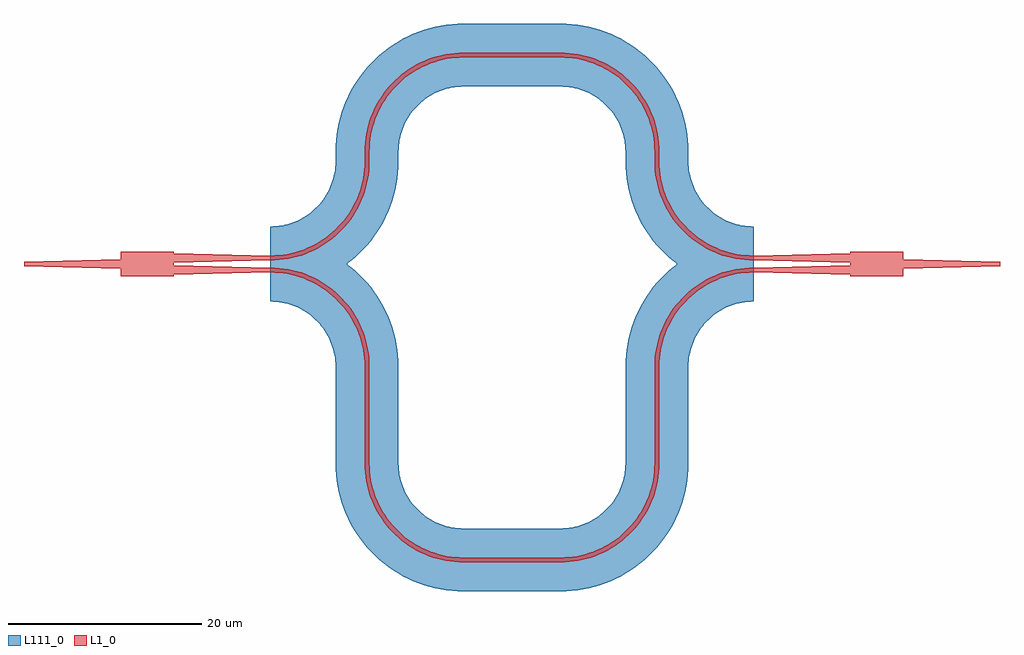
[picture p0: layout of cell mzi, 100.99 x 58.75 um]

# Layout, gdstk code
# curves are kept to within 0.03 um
import gdstk
lib = gdstk.Library(unit=1e-6, precision=1e-09)
def R(c, l, rs):  # rectangles x0, y0, x1, y1
    for r in rs: c.add(gdstk.rectangle(r[:2], r[2:], *l))
def P(c, l, *ps):  # polygons
    for p in ps: c.add(gdstk.Polygon(p, *l))
L1_0 = (1, 0)
L111_0 = (111, 0)

mzi = lib.new_cell('mzi')
R(mzi, L1_0, [(45.496,-30.875,55.496,-30.375), (35.246,-20.625,35.746,-11.625), (65.246,-20.625,65.746,-11.625), (35.246,-11.625,35.746,-10.625), (65.246,-11.625,65.746,-10.625), (10,-1.25,15.496,1.25), (85.496,-1.25,90.992,1.25), (35.246,10.625,35.746,11.625), (65.246,10.625,65.746,11.625), (45.496,21.375,55.496,21.875)])
P(mzi, L1_0, [(25.496,-0.875),(15.496,-1.125),(15.496,-0.125),(25.496,-0.375)],
  [(25.496,0.375),(15.496,0.125),(15.496,1.125),(25.496,0.875)],
  [(0,0.25),(10,0.5),(10,-0.5),(0,-0.25)],
  [(75.496,0.875),(85.496,1.125),(85.496,0.125),(75.496,0.375)],
  [(75.496,-0.375),(85.496,-0.125),(85.496,-1.125),(75.496,-0.875)],
  [(100.992,-0.25),(90.992,-0.5),(90.992,0.5),(100.992,0.25)],
  [(35.246,10.625),(35.207,9.751),(35.089,8.884),(34.895,8.031),(34.624,7.199),(34.28,6.395),(33.866,5.624),(33.119,4.546),(32.543,3.887),(31.911,3.283),(31.227,2.737),(30.497,2.255),(29.726,1.841),(28.509,1.352),(27.666,1.119),(26.37,0.914),(25.496,0.875),(25.496,0.375),(26.415,0.416),(27.777,0.632),(28.663,0.877),(29.525,1.2),(30.353,1.599),(31.143,2.071),(31.887,2.611),(32.905,3.542),(33.51,4.234),(34.295,5.368),(34.921,6.596),(35.244,7.458),(35.489,8.344),(35.653,9.249),(35.746,10.625)],
  [(35.746,11.625),(35.785,12.499),(35.903,13.366),(36.097,14.219),(36.368,15.051),(36.712,15.855),(37.126,16.626),(37.873,17.704),(38.449,18.363),(39.081,18.967),(39.765,19.513),(40.495,19.995),(41.266,20.409),(42.483,20.898),(43.326,21.131),(44.622,21.336),(45.496,21.375),(45.496,21.875),(44.577,21.834),(43.215,21.618),(42.329,21.373),(41.467,21.05),(40.639,20.651),(39.849,20.179),(39.105,19.639),(38.087,18.708),(37.482,18.016),(36.697,16.882),(36.071,15.654),(35.748,14.792),(35.503,13.906),(35.339,13.001),(35.246,11.625)],
  [(55.496,21.375),(56.37,21.336),(57.237,21.218),(58.09,21.024),(58.922,20.753),(59.726,20.409),(60.497,19.995),(61.575,19.248),(62.234,18.672),(62.838,18.04),(63.384,17.356),(63.866,16.626),(64.28,15.855),(64.769,14.638),(65.002,13.795),(65.207,12.499),(65.246,11.625),(65.746,11.625),(65.705,12.544),(65.489,13.906),(65.244,14.792),(64.921,15.654),(64.522,16.482),(64.05,17.272),(63.51,18.016),(62.579,19.034),(61.887,19.639),(60.753,20.424),(59.525,21.05),(58.663,21.373),(57.777,21.618),(56.872,21.782),(55.496,21.875)],
  [(75.496,0.875),(74.622,0.914),(73.755,1.032),(72.902,1.226),(72.07,1.497),(71.266,1.841),(70.495,2.255),(69.417,3.002),(68.758,3.578),(68.154,4.21),(67.608,4.894),(67.126,5.624),(66.712,6.395),(66.223,7.612),(65.99,8.455),(65.785,9.751),(65.746,10.625),(65.246,10.625),(65.287,9.706),(65.503,8.344),(65.748,7.458),(66.071,6.596),(66.47,5.768),(66.942,4.978),(67.482,4.234),(68.413,3.216),(69.105,2.611),(70.239,1.826),(71.467,1.2),(72.329,0.877),(73.215,0.632),(74.12,0.468),(75.496,0.375)],
  [(25.496,-0.875),(26.37,-0.914),(27.237,-1.032),(28.09,-1.226),(28.922,-1.497),(29.726,-1.841),(30.497,-2.255),(31.575,-3.002),(32.234,-3.578),(32.838,-4.21),(33.384,-4.894),(33.866,-5.624),(34.28,-6.395),(34.769,-7.612),(35.002,-8.455),(35.207,-9.751),(35.246,-10.625),(35.746,-10.625),(35.705,-9.706),(35.489,-8.344),(35.244,-7.458),(34.921,-6.596),(34.522,-5.768),(34.05,-4.978),(33.51,-4.234),(32.579,-3.216),(31.887,-2.611),(30.753,-1.826),(29.525,-1.2),(28.663,-0.877),(27.777,-0.632),(26.872,-0.468),(25.496,-0.375)],
  [(45.496,-30.375),(44.622,-30.336),(43.755,-30.218),(42.902,-30.024),(42.07,-29.753),(41.266,-29.409),(40.495,-28.995),(39.417,-28.248),(38.758,-27.672),(38.154,-27.04),(37.608,-26.356),(37.126,-25.626),(36.712,-24.855),(36.223,-23.638),(35.99,-22.795),(35.785,-21.499),(35.746,-20.625),(35.246,-20.625),(35.287,-21.544),(35.503,-22.906),(35.748,-23.792),(36.071,-24.654),(36.47,-25.482),(36.942,-26.272),(37.482,-27.016),(38.413,-28.034),(39.105,-28.639),(40.239,-29.424),(41.467,-30.05),(42.329,-30.373),(43.215,-30.618),(44.12,-30.782),(45.496,-30.875)],
  [(65.246,-20.625),(65.207,-21.499),(65.089,-22.366),(64.895,-23.219),(64.624,-24.051),(64.28,-24.855),(63.866,-25.626),(63.119,-26.704),(62.543,-27.363),(61.911,-27.967),(61.227,-28.513),(60.497,-28.995),(59.726,-29.409),(58.509,-29.898),(57.666,-30.131),(56.37,-30.336),(55.496,-30.375),(55.496,-30.875),(56.415,-30.834),(57.777,-30.618),(58.663,-30.373),(59.525,-30.05),(60.353,-29.651),(61.143,-29.179),(61.887,-28.639),(62.905,-27.708),(63.51,-27.016),(64.295,-25.882),(64.921,-24.654),(65.244,-23.792),(65.489,-22.906),(65.653,-22.001),(65.746,-20.625)],
  [(65.746,-10.625),(65.785,-9.751),(65.903,-8.884),(66.097,-8.031),(66.368,-7.199),(66.712,-6.395),(67.126,-5.624),(67.873,-4.546),(68.449,-3.887),(69.081,-3.283),(69.765,-2.737),(70.495,-2.255),(71.266,-1.841),(72.483,-1.352),(73.326,-1.119),(74.622,-0.914),(75.496,-0.875),(75.496,-0.375),(74.577,-0.416),(73.215,-0.632),(72.329,-0.877),(71.467,-1.2),(70.639,-1.599),(69.849,-2.071),(69.105,-2.611),(68.087,-3.542),(67.482,-4.234),(66.697,-5.368),(66.071,-6.596),(65.748,-7.458),(65.503,-8.344),(65.339,-9.249),(65.246,-10.625)])
R(mzi, L111_0, [(45.496,-33.875,55.496,-27.375), (32.246,-20.625,38.746,-11.625), (62.246,-20.625,68.746,-11.625), (32.246,-11.625,38.746,-10.625), (62.246,-11.625,68.746,-10.625), (32.246,10.625,38.746,11.625), (62.246,10.625,68.746,11.625), (45.496,18.375,55.496,24.875)])
P(mzi, L111_0, [(32.246,10.625),(32.138,9.42),(31.816,8.253),(31.291,7.163),(30.957,6.657),(30.375,5.96),(29.464,5.164),(28.958,4.83),(28.149,4.418),(27.582,4.205),(26.701,3.983),(25.496,3.875),(25.496,-2.625),(27.275,-2.505),(29.021,-2.148),(30.704,-1.559),(32.292,-0.749),(33.757,0.266),(35.073,1.468),(36.215,2.837),(37.164,4.346),(37.68,5.417),(38.269,7.1),(38.626,8.846),(38.746,10.625)],
  [(38.746,11.625),(38.854,12.83),(39.176,13.997),(39.701,15.087),(40.035,15.593),(40.617,16.29),(41.528,17.086),(42.034,17.42),(42.843,17.832),(43.41,18.045),(44.291,18.267),(45.496,18.375),(45.496,24.875),(43.717,24.755),(41.971,24.398),(40.288,23.809),(38.7,22.999),(37.235,21.984),(35.919,20.782),(34.777,19.413),(33.828,17.904),(33.312,16.833),(32.723,15.15),(32.366,13.404),(32.246,11.625)],
  [(55.496,18.375),(56.701,18.267),(57.868,17.945),(58.958,17.42),(59.464,17.086),(60.161,16.504),(60.957,15.593),(61.291,15.087),(61.703,14.278),(61.916,13.711),(62.138,12.83),(62.246,11.625),(68.746,11.625),(68.626,13.404),(68.269,15.15),(67.68,16.833),(66.87,18.421),(65.855,19.886),(64.653,21.202),(63.284,22.344),(61.775,23.293),(60.704,23.809),(59.021,24.398),(57.275,24.755),(55.496,24.875)],
  [(75.496,3.875),(74.291,3.983),(73.124,4.305),(72.034,4.83),(71.528,5.164),(70.831,5.746),(70.035,6.657),(69.701,7.163),(69.289,7.972),(69.076,8.539),(68.854,9.42),(68.746,10.625),(62.246,10.625),(62.366,8.846),(62.723,7.1),(63.312,5.417),(64.122,3.829),(65.137,2.364),(66.339,1.048),(67.708,-0.094),(69.217,-1.043),(70.288,-1.559),(71.971,-2.148),(73.717,-2.505),(75.496,-2.625)],
  [(25.496,-3.875),(26.701,-3.983),(27.868,-4.305),(28.958,-4.83),(29.464,-5.164),(30.161,-5.746),(30.957,-6.657),(31.291,-7.163),(31.703,-7.972),(31.916,-8.539),(32.138,-9.42),(32.246,-10.625),(38.746,-10.625),(38.626,-8.846),(38.269,-7.1),(37.68,-5.417),(36.87,-3.829),(35.855,-2.364),(34.653,-1.048),(33.284,0.094),(31.775,1.043),(30.704,1.559),(29.021,2.148),(27.275,2.505),(25.496,2.625)],
  [(45.496,-27.375),(44.291,-27.267),(43.124,-26.945),(42.034,-26.42),(41.528,-26.086),(40.831,-25.504),(40.035,-24.593),(39.701,-24.087),(39.289,-23.278),(39.076,-22.711),(38.854,-21.83),(38.746,-20.625),(32.246,-20.625),(32.366,-22.404),(32.723,-24.15),(33.312,-25.833),(34.122,-27.421),(35.137,-28.886),(36.339,-30.202),(37.708,-31.344),(39.217,-32.293),(40.288,-32.809),(41.971,-33.398),(43.717,-33.755),(45.496,-33.875)],
  [(62.246,-20.625),(62.138,-21.83),(61.816,-22.997),(61.291,-24.087),(60.957,-24.593),(60.375,-25.29),(59.464,-26.086),(58.958,-26.42),(58.149,-26.832),(57.582,-27.045),(56.701,-27.267),(55.496,-27.375),(55.496,-33.875),(57.275,-33.755),(59.021,-33.398),(60.704,-32.809),(62.292,-31.999),(63.757,-30.984),(65.073,-29.782),(66.215,-28.413),(67.164,-26.904),(67.68,-25.833),(68.269,-24.15),(68.626,-22.404),(68.746,-20.625)],
  [(68.746,-10.625),(68.854,-9.42),(69.176,-8.253),(69.701,-7.163),(70.035,-6.657),(70.617,-5.96),(71.528,-5.164),(72.034,-4.83),(72.843,-4.418),(73.41,-4.205),(74.291,-3.983),(75.496,-3.875),(75.496,2.625),(73.717,2.505),(71.971,2.148),(70.288,1.559),(68.7,0.749),(67.235,-0.266),(65.919,-1.468),(64.777,-2.837),(63.828,-4.346),(63.312,-5.417),(62.723,-7.1),(62.366,-8.846),(62.246,-10.625)])

lib.write_gds('mzi.gds')
